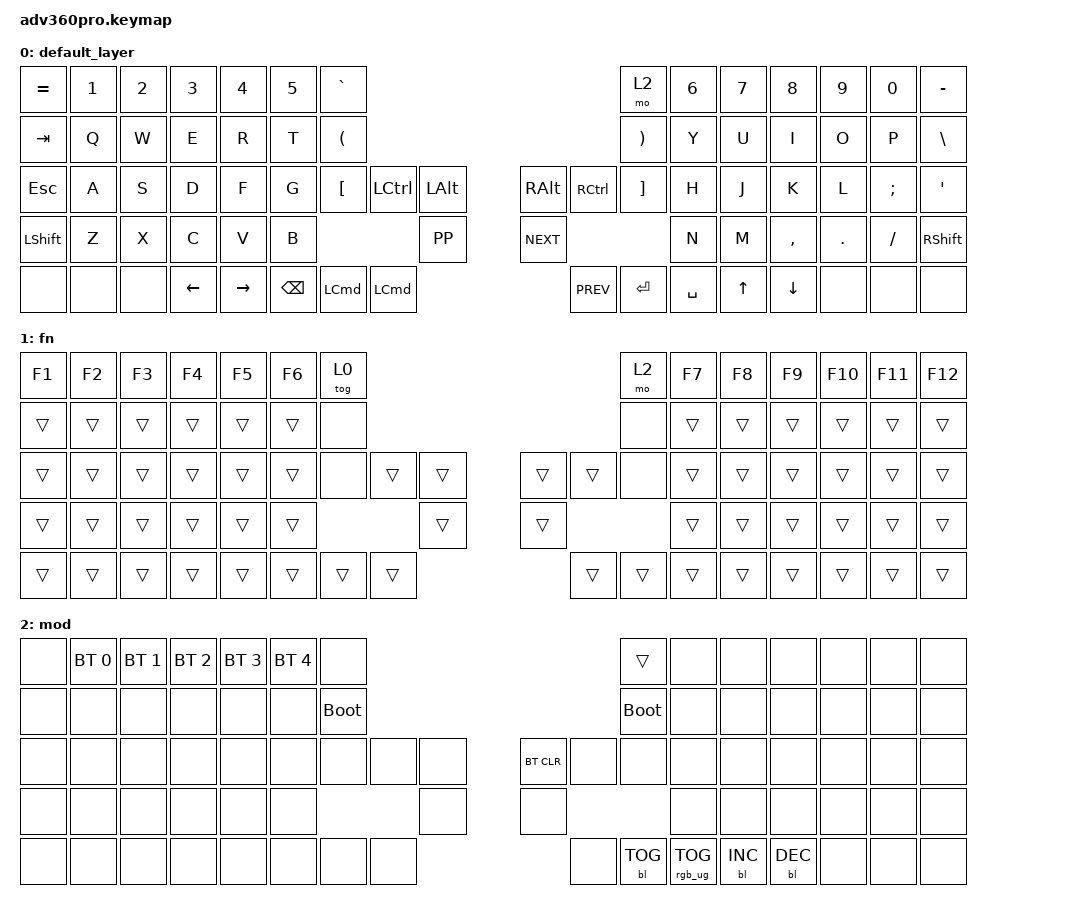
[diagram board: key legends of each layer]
#include <behaviors.dtsi>
#include <dt-bindings/zmk/backlight.h>
#include <dt-bindings/zmk/bt.h>
#include <dt-bindings/zmk/keys.h>
#include <dt-bindings/zmk/rgb.h>

/ {
    keymap {
        compatible = "zmk,keymap";

        default_layer {
            bindings = <
&kp EQUAL  &kp N1  &kp N2  &kp N3    &kp N4     &kp N5  &kp GRAVE                                                                                                       &mo 2                  &kp N6  &kp N7  &kp N8     &kp N9   &kp N0    &kp MINUS
&kp TAB    &kp Q   &kp W   &kp E     &kp R      &kp T   &kp LEFT_PARENTHESIS                                                                                            &kp RIGHT_PARENTHESIS  &kp Y   &kp U   &kp I      &kp O    &kp P     &kp BSLH
&kp ESC    &kp A   &kp S   &kp D     &kp F      &kp G   &kp LEFT_BRACKET                     &kp LCTRL         &kp LEFT_ALT        &kp RIGHT_ALT  &kp RCTRL             &kp RIGHT_BRACKET      &kp H   &kp J   &kp K      &kp L    &kp SEMI  &kp SQT
&kp LSHFT  &kp Z   &kp X   &kp C     &kp V      &kp B                                                          &kp K_PP            &kp K_NEXT                                                  &kp N   &kp M   &kp COMMA  &kp DOT  &kp FSLH  &kp RSHFT
&none      &none   &none   &kp LEFT  &kp RIGHT                                &kp BACKSPACE  &kp LEFT_COMMAND  &kp LEFT_COMMAND    &kp K_PREV     &kp ENTER  &kp SPACE                                 &kp UP  &kp DOWN   &none    &none     &none
            >;
        };

        fn {
            bindings = <
&kp F1  &kp F2  &kp F3  &kp F4  &kp F5  &kp F6  &tog 0                                                    &mo 2  &kp F7  &kp F8  &kp F9  &kp F10  &kp F11  &kp F12
&trans  &trans  &trans  &trans  &trans  &trans  &none                                                     &none  &trans  &trans  &trans  &trans   &trans   &trans
&trans  &trans  &trans  &trans  &trans  &trans  &none           &trans  &trans    &trans  &trans          &none  &trans  &trans  &trans  &trans   &trans   &trans
&trans  &trans  &trans  &trans  &trans  &trans                          &trans    &trans                         &trans  &trans  &trans  &trans   &trans   &trans
&trans  &trans  &trans  &trans  &trans                  &trans  &trans  &trans    &trans  &trans  &trans                 &trans  &trans  &trans   &trans   &trans
            >;
        };

        mod {
            bindings = <
&none  &bt BT_SEL 0  &bt BT_SEL 1  &bt BT_SEL 2  &bt BT_SEL 3  &bt BT_SEL 4  &none                                                                        &trans       &none  &none       &none       &none  &none  &none
&none  &none         &none         &none         &none         &none         &bootloader                                                                  &bootloader  &none  &none       &none       &none  &none  &none
&none  &none         &none         &none         &none         &none         &none               &none  &none    &bt BT_CLR  &none                        &none        &none  &none       &none       &none  &none  &none
&none  &none         &none         &none         &none         &none                                    &none    &none                                                 &none  &none       &none       &none  &none  &none
&none  &none         &none         &none         &none                                    &none  &none  &none    &none       &bl BL_TOG  &rgb_ug RGB_TOG                      &bl BL_INC  &bl BL_DEC  &none  &none  &none
            >;
        };
    };
};
